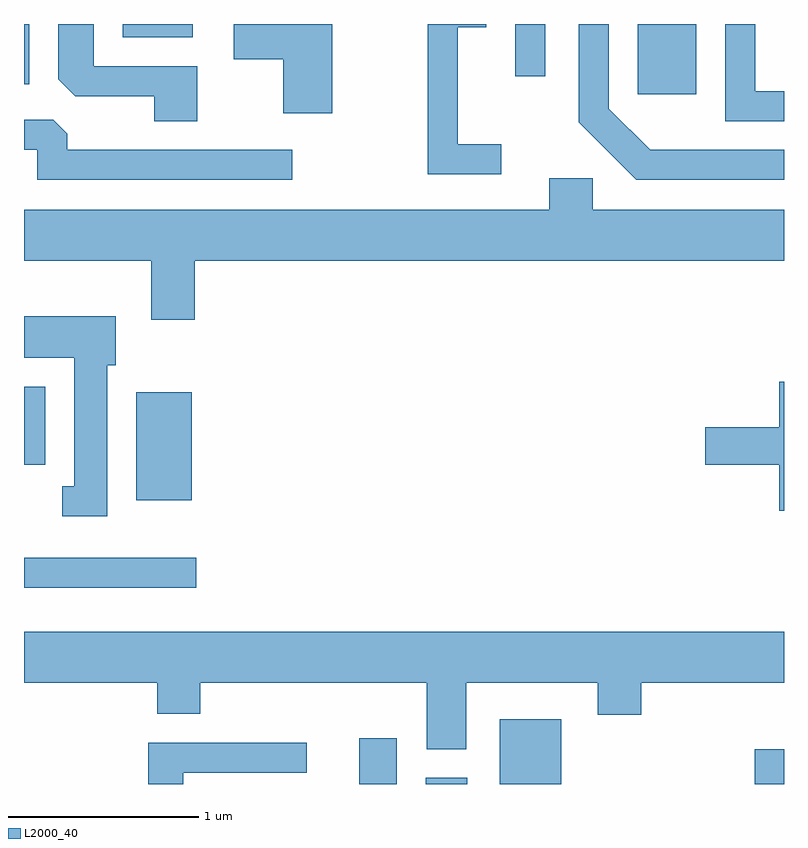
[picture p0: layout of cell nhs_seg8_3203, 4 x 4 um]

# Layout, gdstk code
import gdstk
lib = gdstk.Library(unit=1e-6, precision=1e-09)
def R(c, l, rs):  # rectangles x0, y0, x1, y1
    for r in rs: c.add(gdstk.rectangle(r[:2], r[2:], *l))
def P(c, l, *ps):  # polygons
    for p in ps: c.add(gdstk.Polygon(p, *l))
L2000_40 = (2000, 40)

nhs_seg8_3203 = lib.new_cell('nhs_seg8_3203')
R(nhs_seg8_3203, L2000_40, [(283.376,1820.342,283.574,1820.584), (283.726,1820.342,283.944,1820.374), (284.116,1820.342,284.439,1820.684), (285.456,1820.342,285.611,1820.524), (281.611,1821.376,282.518,1821.534), (282.201,1821.836,282.494,1822.404), (281.611,1822.021,281.724,1822.434), (284.841,1823.971,285.149,1824.342), (281.611,1824.026,281.639,1824.342), (284.196,1824.068,284.354,1824.342), (282.131,1824.271,282.499,1824.342)])
P(nhs_seg8_3203, L2000_40, [(284.123,1823.709),(283.894,1823.709),(283.894,1824.326),(284.044,1824.326),(284.044,1824.342),(283.736,1824.342),(283.736,1823.551),(284.123,1823.551)],
  [(285.611,1823.679),(284.907,1823.679),(284.689,1823.897),(284.689,1824.342),(284.531,1824.342),(284.531,1823.824),(284.834,1823.521),(285.611,1823.521)],
  [(285.611,1823.989),(285.459,1823.989),(285.459,1824.342),(285.301,1824.342),(285.301,1823.831),(285.611,1823.831)],
  [(283.234,1824.342),(282.716,1824.342),(282.716,1824.156),(282.976,1824.156),(282.976,1823.871),(283.234,1823.871)],
  [(282.524,1824.119),(281.979,1824.119),(281.979,1824.342),(281.791,1824.342),(281.791,1824.052),(281.882,1823.961),(282.296,1823.961),(282.296,1823.831),(282.524,1823.831)],
  [(283.023,1823.679),(281.839,1823.679),(281.839,1823.764),(281.764,1823.839),(281.611,1823.839),(281.611,1823.681),(281.681,1823.681),(281.681,1823.521),(283.023,1823.521)],
  [(282.509,1823.096),(285.611,1823.096),(285.611,1823.364),(284.604,1823.364),(284.604,1823.529),(284.376,1823.529),(284.376,1823.364),(281.611,1823.364),(281.611,1823.096),(282.281,1823.096),(282.281,1822.786),(282.509,1822.786)],
  [(282.049,1822.546),(282.094,1822.546),(282.094,1822.804),(281.611,1822.804),(281.611,1822.586),(281.876,1822.586),(281.876,1821.909),(281.813,1821.909),(281.813,1821.751),(282.049,1821.751)],
  [(285.611,1822.459),(285.586,1822.459),(285.586,1822.219),(285.196,1822.219),(285.196,1822.021),(285.586,1822.021),(285.586,1821.781),(285.611,1821.781)],
  [(283.939,1820.876),(284.631,1820.876),(284.631,1820.706),(284.859,1820.706),(284.859,1820.876),(285.611,1820.876),(285.611,1821.144),(281.611,1821.144),(281.611,1820.876),(282.311,1820.876),(282.311,1820.711),(282.539,1820.711),(282.539,1820.876),(283.731,1820.876),(283.731,1820.526),(283.939,1820.526)],
  [(282.449,1820.401),(283.098,1820.401),(283.098,1820.559),(282.266,1820.559),(282.266,1820.342),(282.449,1820.342)])

lib.write_gds('nhs_seg8_3203.gds')
